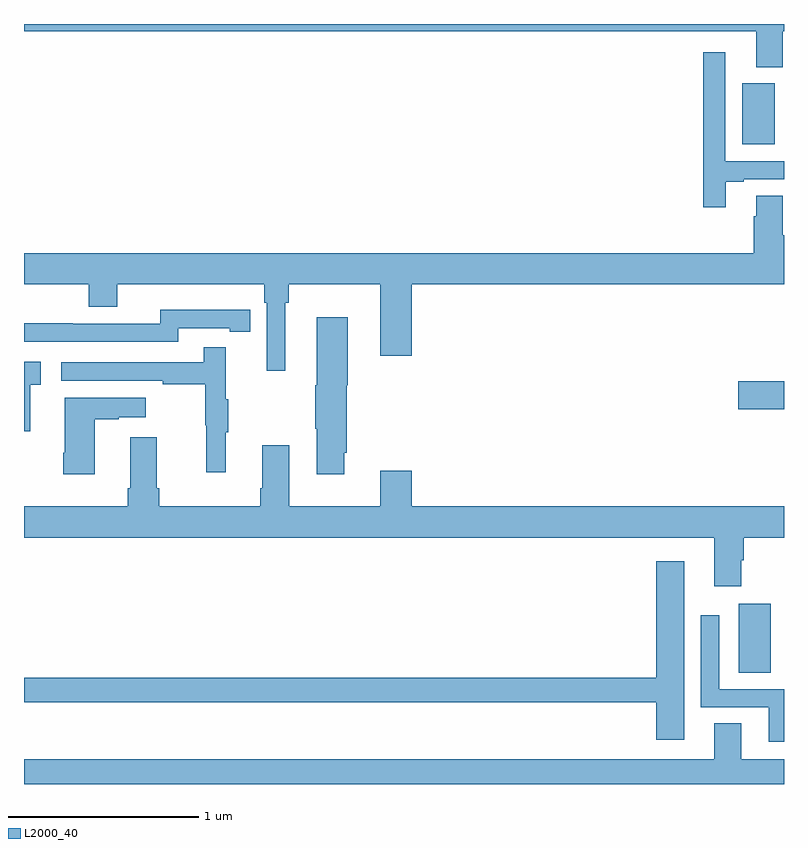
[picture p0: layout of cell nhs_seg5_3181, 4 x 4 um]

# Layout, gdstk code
import gdstk
lib = gdstk.Library(unit=1e-6, precision=1e-09)
def R(c, l, rs):  # rectangles x0, y0, x1, y1
    for r in rs: c.add(gdstk.rectangle(r[:2], r[2:], *l))
def P(c, l, *ps):  # polygons
    for p in ps: c.add(gdstk.Polygon(p, *l))
L2000_40 = (2000, 40)

nhs_seg5_3181 = lib.new_cell('nhs_seg5_3181')
R(nhs_seg5_3181, L2000_40, [(298.763,853.384,298.93,853.747), (298.758,854.771,299,854.918), (298.781,856.166,298.951,856.486)])
P(nhs_seg5_3181, L2000_40, [(298.993,856.76),(299,856.76),(299,856.799),(295,856.799),(295,856.76),(298.853,856.76),(298.853,856.571),(298.993,856.571)],
  [(298.693,855.969),(298.789,855.969),(298.789,855.981),(299,855.981),(299,856.077),(298.692,856.077),(298.692,856.651),(298.576,856.651),(298.576,855.834),(298.693,855.834)],
  [(296.374,855.332),(296.393,855.332),(296.393,855.428),(296.876,855.428),(296.876,855.054),(297.04,855.054),(297.04,855.428),(299,855.428),(299,855.688),(298.993,855.688),(298.993,855.896),(298.853,855.896),(298.853,855.788),(298.841,855.788),(298.841,855.592),(295,855.592),(295,855.428),(295.34,855.428),(295.34,855.311),(295.492,855.311),(295.492,855.428),(296.264,855.428),(296.264,855.332),(296.277,855.332),(296.277,854.973),(296.374,854.973)],
  [(295.812,855.198),(296.084,855.198),(296.084,855.178),(296.192,855.178),(296.192,855.294),(296.084,855.294),(296.084,855.295),(295.716,855.295),(295.716,855.222),(295.256,855.222),(295.256,855.224),(295,855.224),(295,855.126),(295.812,855.126)],
  [(296.686,854.542),(296.699,854.542),(296.699,854.898),(296.704,854.898),(296.704,855.256),(296.54,855.256),(296.54,854.898),(296.533,854.898),(296.533,854.668),(296.54,854.668),(296.54,854.43),(296.686,854.43)],
  [(296.063,854.651),(296.074,854.651),(296.074,854.825),(296.063,854.825),(296.063,855.097),(295.945,855.097),(295.945,855.018),(295.197,855.018),(295.197,854.922),(295.729,854.922),(295.729,854.902),(295.953,854.902),(295.953,854.688),(295.96,854.688),(295.96,854.439),(296.063,854.439)],
  [(295.034,854.901),(295.087,854.901),(295.087,855.022),(295,855.022),(295,854.655),(295.034,854.655)],
  [(295.372,854.719),(295.499,854.719),(295.499,854.729),(295.642,854.729),(295.642,854.833),(295.214,854.833),(295.214,854.542),(295.207,854.542),(295.207,854.43),(295.372,854.43)],
  [(298.774,853.976),(298.787,853.976),(298.787,854.096),(299,854.096),(299,854.26),(297.04,854.26),(297.04,854.449),(296.876,854.449),(296.876,854.26),(296.395,854.26),(296.395,854.581),(296.255,854.581),(296.255,854.356),(296.243,854.356),(296.243,854.26),(295.712,854.26),(295.712,854.356),(295.699,854.356),(295.699,854.623),(295.559,854.623),(295.559,854.356),(295.547,854.356),(295.547,854.26),(295,854.26),(295,854.096),(298.634,854.096),(298.634,853.839),(298.774,853.839)],
  [(298.474,853.972),(298.328,853.972),(298.328,853.358),(295,853.358),(295,853.23),(298.328,853.23),(298.328,853.032),(298.474,853.032)],
  [(299,853.299),(298.659,853.299),(298.659,853.687),(298.563,853.687),(298.563,853.203),(298.919,853.203),(298.919,853.022),(299,853.022)],
  [(299,852.928),(298.774,852.928),(298.774,853.118),(298.634,853.118),(298.634,852.928),(295,852.928),(295,852.799),(299,852.799)])

lib.write_gds('nhs_seg5_3181.gds')
